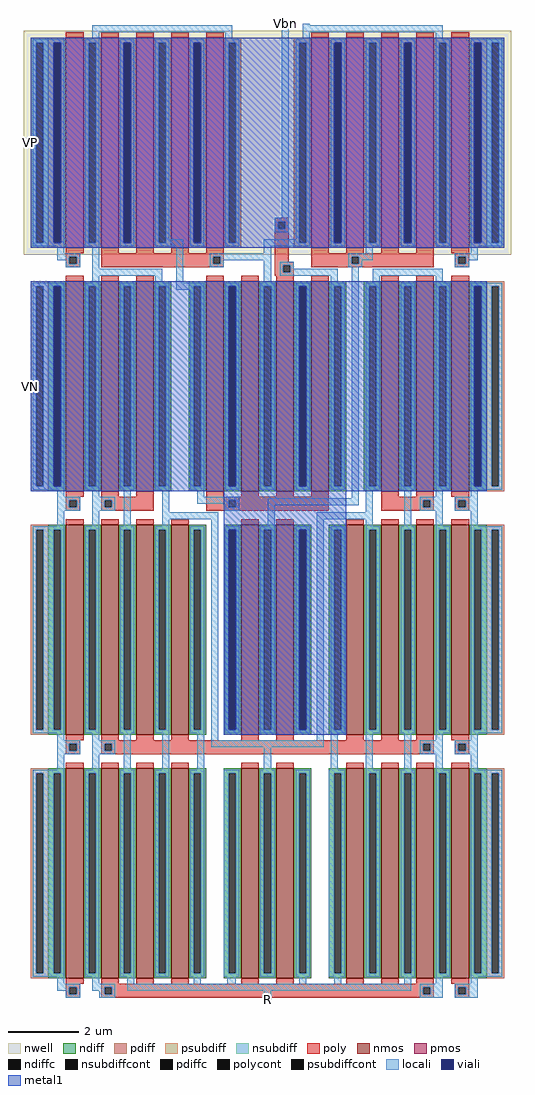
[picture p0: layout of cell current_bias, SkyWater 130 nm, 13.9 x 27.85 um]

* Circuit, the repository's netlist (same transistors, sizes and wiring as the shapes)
* SPICE3 file created from current_bias.ext - technology: sky130A

.subckt current_bias R Vbn Vbp VP VN
X0 VP a_1200_n3000# Vbp VP sky130_fd_pr__pfet_01v8 ad=1.5 pd=6.5 as=3 ps=13 w=6 l=0.5
X1 R a_200_n4390# a_200_n4390# VN sky130_fd_pr__nfet_01v8 ad=1.5 pd=6.5 as=1.5 ps=6.5 w=6 l=0.5
X2 VP a_1200_n3000# a_1200_n3000# VP sky130_fd_pr__pfet_01v8 ad=1.5 pd=6.5 as=1.5 ps=6.5 w=6 l=0.5
X3 Vbn Vbn VN VN sky130_fd_pr__nfet_01v8 ad=3 pd=13 as=1.5 ps=6.5 w=6 l=0.5
X4 R a_200_n4390# a_200_n4390# VN sky130_fd_pr__nfet_01v8 ad=1.5 pd=6.5 as=1.5 ps=6.5 w=6 l=0.5
X5 a_200_n4390# a_200_n4390# R VN sky130_fd_pr__nfet_01v8 ad=3 pd=13 as=1.5 ps=6.5 w=6 l=0.5
X6 a_200_n4390# a_200_n4390# R VN sky130_fd_pr__nfet_01v8 ad=1.5 pd=6.5 as=3 ps=13 w=6 l=0.5
X7 VN Vbn Vbp VN sky130_fd_pr__nfet_01v8 ad=1.5 pd=6.5 as=1.5 ps=6.5 w=6 l=0.5
X8 VN VN a_200_n4390# VN sky130_fd_pr__nfet_01v8 ad=3 pd=13 as=1.5 ps=6.5 w=6 l=0.5
X9 a_200_n4390# a_200_n4390# R VN sky130_fd_pr__nfet_01v8 ad=1.5 pd=6.5 as=3 ps=13 w=6 l=0.5
X10 R a_200_n4390# a_200_n4390# VN sky130_fd_pr__nfet_01v8 ad=3 pd=13 as=1.5 ps=6.5 w=6 l=0.5
X11 R a_200_n4390# a_200_n4390# VN sky130_fd_pr__nfet_01v8 ad=1.5 pd=6.5 as=1.5 ps=6.5 w=6 l=0.5
X12 R a_200_n4390# a_200_n4390# VN sky130_fd_pr__nfet_01v8 ad=3 pd=13 as=1.5 ps=6.5 w=6 l=0.5
X13 VP VP Vbp VP sky130_fd_pr__pfet_01v8 ad=3 pd=13 as=1.5 ps=6.5 w=6 l=0.5
X14 a_200_n4390# VP VP VP sky130_fd_pr__pfet_01v8 ad=1.5 pd=6.5 as=3 ps=13 w=6 l=0.5
X15 Vbp Vbn VN VN sky130_fd_pr__nfet_01v8 ad=1.5 pd=6.5 as=1.5 ps=6.5 w=6 l=0.5
X16 a_200_n4390# a_200_n4390# R VN sky130_fd_pr__nfet_01v8 ad=1.5 pd=6.5 as=1.5 ps=6.5 w=6 l=0.5
X17 Vbn Vbp VP VP sky130_fd_pr__pfet_01v8 ad=1.5 pd=6.5 as=1.5 ps=6.5 w=6 l=0.5
X18 a_200_n4390# a_200_n4390# R VN sky130_fd_pr__nfet_01v8 ad=1.5 pd=6.5 as=1.5 ps=6.5 w=6 l=0.5
X19 a_200_n4390# Vbp VP VP sky130_fd_pr__pfet_01v8 ad=3 pd=13 as=1.5 ps=6.5 w=6 l=0.5
X20 a_1200_n3000# a_1200_n3000# VP VP sky130_fd_pr__pfet_01v8 ad=1.5 pd=6.5 as=1.5 ps=6.5 w=6 l=0.5
X21 a_200_n4390# VN VN VN sky130_fd_pr__nfet_01v8 ad=1.5 pd=6.5 as=3 ps=13 w=6 l=0.5
X22 VN a_200_n4390# a_1200_n3000# VN sky130_fd_pr__nfet_01v8 ad=3 pd=13 as=1.5 ps=6.5 w=6 l=0.5
X23 VN VN a_200_n4390# VN sky130_fd_pr__nfet_01v8 ad=3 pd=13 as=1.5 ps=6.5 w=6 l=0.5
X24 a_200_n4390# a_200_n4390# R VN sky130_fd_pr__nfet_01v8 ad=1.5 pd=6.5 as=1.5 ps=6.5 w=6 l=0.5
X25 VN VN a_200_n4390# VN sky130_fd_pr__nfet_01v8 ad=3 pd=13 as=1.5 ps=6.5 w=6 l=0.5
X26 R a_200_n4390# a_200_n4390# VN sky130_fd_pr__nfet_01v8 ad=1.5 pd=6.5 as=1.5 ps=6.5 w=6 l=0.5
X27 R a_200_n4390# a_200_n4390# VN sky130_fd_pr__nfet_01v8 ad=3 pd=13 as=1.5 ps=6.5 w=6 l=0.5
X28 a_200_n4390# a_200_n4390# R VN sky130_fd_pr__nfet_01v8 ad=1.5 pd=6.5 as=1.5 ps=6.5 w=6 l=0.5
X29 R a_200_n4390# a_200_n4390# VN sky130_fd_pr__nfet_01v8 ad=1.5 pd=6.5 as=3 ps=13 w=6 l=0.5
X30 a_1200_n3000# a_200_n4390# VN VN sky130_fd_pr__nfet_01v8 ad=1.5 pd=6.5 as=3 ps=13 w=6 l=0.5
X31 R a_200_n4390# a_200_n4390# VN sky130_fd_pr__nfet_01v8 ad=1.5 pd=6.5 as=1.5 ps=6.5 w=6 l=0.5
X32 a_200_n4390# a_200_n4390# R VN sky130_fd_pr__nfet_01v8 ad=1.5 pd=6.5 as=1.5 ps=6.5 w=6 l=0.5
X33 VN Vbn Vbn VN sky130_fd_pr__nfet_01v8 ad=1.5 pd=6.5 as=3 ps=13 w=6 l=0.5
X34 a_200_n4390# VN VN VN sky130_fd_pr__nfet_01v8 ad=1.5 pd=6.5 as=3 ps=13 w=6 l=0.5
X35 a_200_n4390# a_200_n4390# R VN sky130_fd_pr__nfet_01v8 ad=1.5 pd=6.5 as=3 ps=13 w=6 l=0.5
X36 Vbp a_1200_n3000# VP VP sky130_fd_pr__pfet_01v8 ad=1.5 pd=6.5 as=1.5 ps=6.5 w=6 l=0.5
X37 a_200_n4390# VN VN VN sky130_fd_pr__nfet_01v8 ad=1.5 pd=6.5 as=3 ps=13 w=6 l=0.5
X38 VP Vbp a_200_n4390# VP sky130_fd_pr__pfet_01v8 ad=1.5 pd=6.5 as=1.5 ps=6.5 w=6 l=0.5
X39 VP Vbp Vbn VP sky130_fd_pr__pfet_01v8 ad=1.5 pd=6.5 as=1.5 ps=6.5 w=6 l=0.5
.ends

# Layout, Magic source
magic
tech sky130A
<< nwell >>
rect -70 -130 1320 510
<< nmos >>
rect 50 -805 100 -205
rect 150 -805 200 -205
rect 250 -805 300 -205
rect 450 -805 500 -205
rect 550 -805 600 -205
rect 650 -805 700 -205
rect 750 -805 800 -205
rect 950 -805 1000 -205
rect 1050 -805 1100 -205
rect 1150 -805 1200 -205
rect 50 -1500 100 -900
rect 150 -1500 200 -900
rect 250 -1500 300 -900
rect 350 -1500 400 -900
rect 550 -1500 600 -900
rect 650 -1500 700 -900
rect 850 -1500 900 -900
rect 950 -1500 1000 -900
rect 1050 -1500 1100 -900
rect 1150 -1500 1200 -900
rect 50 -2195 100 -1595
rect 150 -2195 200 -1595
rect 250 -2195 300 -1595
rect 350 -2195 400 -1595
rect 550 -2195 600 -1595
rect 650 -2195 700 -1595
rect 850 -2195 900 -1595
rect 950 -2195 1000 -1595
rect 1050 -2195 1100 -1595
rect 1150 -2195 1200 -1595
<< pmos >>
rect 50 -110 100 490
rect 150 -110 200 490
rect 250 -110 300 490
rect 350 -110 400 490
rect 450 -110 500 490
rect 750 -110 800 490
rect 850 -110 900 490
rect 950 -110 1000 490
rect 1050 -110 1100 490
rect 1150 -110 1200 490
<< ndiff >>
rect 0 -220 50 -205
rect 0 -790 15 -220
rect 35 -790 50 -220
rect 0 -805 50 -790
rect 100 -220 150 -205
rect 100 -790 115 -220
rect 135 -790 150 -220
rect 100 -805 150 -790
rect 200 -220 250 -205
rect 200 -790 215 -220
rect 235 -790 250 -220
rect 200 -805 250 -790
rect 300 -220 350 -205
rect 300 -790 315 -220
rect 335 -790 350 -220
rect 300 -805 350 -790
rect 400 -220 450 -205
rect 400 -790 415 -220
rect 435 -790 450 -220
rect 400 -805 450 -790
rect 500 -220 550 -205
rect 500 -790 515 -220
rect 535 -790 550 -220
rect 500 -805 550 -790
rect 600 -220 650 -205
rect 600 -790 615 -220
rect 635 -790 650 -220
rect 600 -805 650 -790
rect 700 -220 750 -205
rect 700 -790 715 -220
rect 735 -790 750 -220
rect 700 -805 750 -790
rect 800 -220 850 -205
rect 800 -790 815 -220
rect 835 -790 850 -220
rect 800 -805 850 -790
rect 900 -220 950 -205
rect 900 -790 915 -220
rect 935 -790 950 -220
rect 900 -805 950 -790
rect 1000 -220 1050 -205
rect 1000 -790 1015 -220
rect 1035 -790 1050 -220
rect 1000 -805 1050 -790
rect 1100 -220 1150 -205
rect 1100 -790 1115 -220
rect 1135 -790 1150 -220
rect 1100 -805 1150 -790
rect 1200 -220 1250 -205
rect 1200 -790 1215 -220
rect 1235 -790 1250 -220
rect 1200 -805 1250 -790
rect 0 -915 50 -900
rect 0 -1485 15 -915
rect 35 -1485 50 -915
rect 0 -1500 50 -1485
rect 100 -915 150 -900
rect 100 -1485 115 -915
rect 135 -1485 150 -915
rect 100 -1500 150 -1485
rect 200 -915 250 -900
rect 200 -1485 215 -915
rect 235 -1485 250 -915
rect 200 -1500 250 -1485
rect 300 -915 350 -900
rect 300 -1485 315 -915
rect 335 -1485 350 -915
rect 300 -1500 350 -1485
rect 400 -915 450 -900
rect 400 -1485 415 -915
rect 435 -1485 450 -915
rect 400 -1500 450 -1485
rect 500 -915 550 -900
rect 500 -1485 515 -915
rect 535 -1485 550 -915
rect 500 -1500 550 -1485
rect 600 -915 650 -900
rect 600 -1485 615 -915
rect 635 -1485 650 -915
rect 600 -1500 650 -1485
rect 700 -915 750 -900
rect 700 -1485 715 -915
rect 735 -1485 750 -915
rect 700 -1500 750 -1485
rect 800 -915 850 -900
rect 800 -1485 815 -915
rect 835 -1485 850 -915
rect 800 -1500 850 -1485
rect 900 -915 950 -900
rect 900 -1485 915 -915
rect 935 -1485 950 -915
rect 900 -1500 950 -1485
rect 1000 -915 1050 -900
rect 1000 -1485 1015 -915
rect 1035 -1485 1050 -915
rect 1000 -1500 1050 -1485
rect 1100 -915 1150 -900
rect 1100 -1485 1115 -915
rect 1135 -1485 1150 -915
rect 1100 -1500 1150 -1485
rect 1200 -915 1250 -900
rect 1200 -1485 1215 -915
rect 1235 -1485 1250 -915
rect 1200 -1500 1250 -1485
rect 0 -1610 50 -1595
rect 0 -2180 15 -1610
rect 35 -2180 50 -1610
rect 0 -2195 50 -2180
rect 100 -1610 150 -1595
rect 100 -2180 115 -1610
rect 135 -2180 150 -1610
rect 100 -2195 150 -2180
rect 200 -1610 250 -1595
rect 200 -2180 215 -1610
rect 235 -2180 250 -1610
rect 200 -2195 250 -2180
rect 300 -1610 350 -1595
rect 300 -2180 315 -1610
rect 335 -2180 350 -1610
rect 300 -2195 350 -2180
rect 400 -1610 450 -1595
rect 400 -2180 415 -1610
rect 435 -2180 450 -1610
rect 400 -2195 450 -2180
rect 500 -1610 550 -1595
rect 500 -2180 515 -1610
rect 535 -2180 550 -1610
rect 500 -2195 550 -2180
rect 600 -1610 650 -1595
rect 600 -2180 615 -1610
rect 635 -2180 650 -1610
rect 600 -2195 650 -2180
rect 700 -1610 750 -1595
rect 700 -2180 715 -1610
rect 735 -2180 750 -1610
rect 700 -2195 750 -2180
rect 800 -1610 850 -1595
rect 800 -2180 815 -1610
rect 835 -2180 850 -1610
rect 800 -2195 850 -2180
rect 900 -1610 950 -1595
rect 900 -2180 915 -1610
rect 935 -2180 950 -1610
rect 900 -2195 950 -2180
rect 1000 -1610 1050 -1595
rect 1000 -2180 1015 -1610
rect 1035 -2180 1050 -1610
rect 1000 -2195 1050 -2180
rect 1100 -1610 1150 -1595
rect 1100 -2180 1115 -1610
rect 1135 -2180 1150 -1610
rect 1100 -2195 1150 -2180
rect 1200 -1610 1250 -1595
rect 1200 -2180 1215 -1610
rect 1235 -2180 1250 -1610
rect 1200 -2195 1250 -2180
<< pdiff >>
rect 0 475 50 490
rect 0 -95 15 475
rect 35 -95 50 475
rect 0 -110 50 -95
rect 100 475 150 490
rect 100 -95 115 475
rect 135 -95 150 475
rect 100 -110 150 -95
rect 200 475 250 490
rect 200 -95 215 475
rect 235 -95 250 475
rect 200 -110 250 -95
rect 300 475 350 490
rect 300 -95 315 475
rect 335 -95 350 475
rect 300 -110 350 -95
rect 400 475 450 490
rect 400 -95 415 475
rect 435 -95 450 475
rect 400 -110 450 -95
rect 500 475 550 490
rect 500 -95 515 475
rect 535 -95 550 475
rect 700 475 750 490
rect 500 -110 550 -95
rect 700 -95 715 475
rect 735 -95 750 475
rect 700 -110 750 -95
rect 800 475 850 490
rect 800 -95 815 475
rect 835 -95 850 475
rect 800 -110 850 -95
rect 900 475 950 490
rect 900 -95 915 475
rect 935 -95 950 475
rect 900 -110 950 -95
rect 1000 475 1050 490
rect 1000 -95 1015 475
rect 1035 -95 1050 475
rect 1000 -110 1050 -95
rect 1100 475 1150 490
rect 1100 -95 1115 475
rect 1135 -95 1150 475
rect 1100 -110 1150 -95
rect 1200 475 1250 490
rect 1200 -95 1215 475
rect 1235 -95 1250 475
rect 1200 -110 1250 -95
<< ndiffc >>
rect 15 -790 35 -220
rect 115 -790 135 -220
rect 215 -790 235 -220
rect 315 -790 335 -220
rect 415 -790 435 -220
rect 515 -790 535 -220
rect 615 -790 635 -220
rect 715 -790 735 -220
rect 815 -790 835 -220
rect 915 -790 935 -220
rect 1015 -790 1035 -220
rect 1115 -790 1135 -220
rect 1215 -790 1235 -220
rect 15 -1485 35 -915
rect 115 -1485 135 -915
rect 215 -1485 235 -915
rect 315 -1485 335 -915
rect 415 -1485 435 -915
rect 515 -1485 535 -915
rect 615 -1485 635 -915
rect 715 -1485 735 -915
rect 815 -1485 835 -915
rect 915 -1485 935 -915
rect 1015 -1485 1035 -915
rect 1115 -1485 1135 -915
rect 1215 -1485 1235 -915
rect 15 -2180 35 -1610
rect 115 -2180 135 -1610
rect 215 -2180 235 -1610
rect 315 -2180 335 -1610
rect 415 -2180 435 -1610
rect 515 -2180 535 -1610
rect 615 -2180 635 -1610
rect 715 -2180 735 -1610
rect 815 -2180 835 -1610
rect 915 -2180 935 -1610
rect 1015 -2180 1035 -1610
rect 1115 -2180 1135 -1610
rect 1215 -2180 1235 -1610
<< pdiffc >>
rect 15 -95 35 475
rect 115 -95 135 475
rect 215 -95 235 475
rect 315 -95 335 475
rect 415 -95 435 475
rect 515 -95 535 475
rect 715 -95 735 475
rect 815 -95 835 475
rect 915 -95 935 475
rect 1015 -95 1035 475
rect 1115 -95 1135 475
rect 1215 -95 1235 475
<< psubdiff >>
rect -50 -220 0 -205
rect -50 -790 -35 -220
rect -15 -790 0 -220
rect -50 -805 0 -790
rect 1250 -220 1300 -205
rect 1250 -790 1265 -220
rect 1285 -790 1300 -220
rect 1250 -805 1300 -790
rect -50 -915 0 -900
rect -50 -1485 -35 -915
rect -15 -1485 0 -915
rect -50 -1500 0 -1485
rect 1250 -915 1300 -900
rect 1250 -1485 1265 -915
rect 1285 -1485 1300 -915
rect 1250 -1500 1300 -1485
rect -50 -1610 0 -1595
rect -50 -2180 -35 -1610
rect -15 -2180 0 -1610
rect -50 -2195 0 -2180
rect 1250 -1610 1300 -1595
rect 1250 -2180 1265 -1610
rect 1285 -2180 1300 -1610
rect 1250 -2195 1300 -2180
<< nsubdiff >>
rect -50 475 0 490
rect -50 -95 -35 475
rect -15 -95 0 475
rect -50 -110 0 -95
rect 1250 475 1300 490
rect 1250 -95 1265 475
rect 1285 -95 1300 475
rect 1250 -110 1300 -95
<< psubdiffcont >>
rect -35 -790 -15 -220
rect 1265 -790 1285 -220
rect -35 -1485 -15 -915
rect 1265 -1485 1285 -915
rect -35 -2180 -15 -1610
rect 1265 -2180 1285 -1610
<< nsubdiffcont >>
rect -35 -95 -15 475
rect 1265 -95 1285 475
<< poly >>
rect 50 490 100 505
rect 150 490 200 505
rect 250 490 300 505
rect 350 490 400 505
rect 450 490 500 505
rect 750 490 800 505
rect 850 490 900 505
rect 950 490 1000 505
rect 1050 490 1100 505
rect 1150 490 1200 505
rect 645 -35 685 -25
rect 645 -55 655 -35
rect 675 -55 685 -35
rect 50 -125 100 -110
rect 150 -125 200 -110
rect 250 -125 300 -110
rect 350 -125 400 -110
rect 450 -125 500 -110
rect 50 -135 90 -125
rect 50 -155 60 -135
rect 80 -155 90 -135
rect 50 -165 90 -155
rect 150 -135 500 -125
rect 150 -155 470 -135
rect 490 -155 500 -135
rect 150 -165 500 -155
rect 645 -150 685 -55
rect 750 -125 800 -110
rect 850 -125 900 -110
rect 950 -125 1000 -110
rect 1050 -125 1100 -110
rect 1150 -125 1200 -110
rect 750 -135 1100 -125
rect 645 -160 700 -150
rect 645 -180 670 -160
rect 690 -180 700 -160
rect 750 -155 865 -135
rect 885 -155 1100 -135
rect 750 -165 1100 -155
rect 1160 -135 1200 -125
rect 1160 -155 1170 -135
rect 1190 -155 1200 -135
rect 1160 -165 1200 -155
rect 645 -190 700 -180
rect 50 -205 100 -190
rect 150 -205 200 -190
rect 250 -205 300 -190
rect 450 -205 500 -190
rect 550 -205 600 -190
rect 650 -205 700 -190
rect 750 -205 800 -190
rect 950 -205 1000 -190
rect 1050 -205 1100 -190
rect 1150 -205 1200 -190
rect 50 -820 100 -805
rect 150 -820 200 -805
rect 250 -820 300 -805
rect 50 -830 90 -820
rect 50 -850 60 -830
rect 80 -850 90 -830
rect 50 -860 90 -850
rect 150 -830 300 -820
rect 150 -850 160 -830
rect 180 -850 300 -830
rect 150 -860 300 -850
rect 450 -820 500 -805
rect 550 -820 600 -805
rect 650 -820 700 -805
rect 750 -820 800 -805
rect 450 -830 800 -820
rect 450 -850 515 -830
rect 535 -850 800 -830
rect 450 -860 800 -850
rect 950 -820 1000 -805
rect 1050 -820 1100 -805
rect 1150 -820 1200 -805
rect 950 -830 1100 -820
rect 950 -850 1070 -830
rect 1090 -850 1100 -830
rect 950 -860 1100 -850
rect 1160 -830 1200 -820
rect 1160 -850 1170 -830
rect 1190 -850 1200 -830
rect 1160 -860 1200 -850
rect 50 -900 100 -885
rect 150 -900 200 -885
rect 250 -900 300 -885
rect 350 -900 400 -885
rect 550 -900 600 -885
rect 650 -900 700 -885
rect 850 -900 900 -885
rect 950 -900 1000 -885
rect 1050 -900 1100 -885
rect 1150 -900 1200 -885
rect 50 -1515 100 -1500
rect 150 -1515 200 -1500
rect 250 -1515 300 -1500
rect 350 -1515 400 -1500
rect 550 -1515 600 -1500
rect 650 -1515 700 -1500
rect 850 -1515 900 -1500
rect 950 -1515 1000 -1500
rect 1050 -1515 1100 -1500
rect 1150 -1515 1200 -1500
rect 50 -1525 90 -1515
rect 50 -1545 60 -1525
rect 80 -1545 90 -1525
rect 50 -1555 90 -1545
rect 150 -1525 1100 -1515
rect 150 -1545 160 -1525
rect 180 -1545 1070 -1525
rect 1090 -1545 1100 -1525
rect 150 -1555 1100 -1545
rect 1160 -1525 1200 -1515
rect 1160 -1545 1170 -1525
rect 1190 -1545 1200 -1525
rect 1160 -1555 1200 -1545
rect 50 -1595 100 -1580
rect 150 -1595 200 -1580
rect 250 -1595 300 -1580
rect 350 -1595 400 -1580
rect 550 -1595 600 -1580
rect 650 -1595 700 -1580
rect 850 -1595 900 -1580
rect 950 -1595 1000 -1580
rect 1050 -1595 1100 -1580
rect 1150 -1595 1200 -1580
rect 50 -2210 100 -2195
rect 150 -2210 200 -2195
rect 250 -2210 300 -2195
rect 350 -2210 400 -2195
rect 550 -2210 600 -2195
rect 650 -2210 700 -2195
rect 850 -2210 900 -2195
rect 950 -2210 1000 -2195
rect 1050 -2210 1100 -2195
rect 1150 -2210 1200 -2195
rect 50 -2220 90 -2210
rect 50 -2240 60 -2220
rect 80 -2240 90 -2220
rect 50 -2250 90 -2240
rect 150 -2220 1100 -2210
rect 150 -2240 160 -2220
rect 180 -2240 1070 -2220
rect 1090 -2240 1100 -2220
rect 150 -2250 1100 -2240
rect 1160 -2220 1200 -2210
rect 1160 -2240 1170 -2220
rect 1190 -2240 1200 -2220
rect 1160 -2250 1200 -2240
<< polycont >>
rect 655 -55 675 -35
rect 60 -155 80 -135
rect 470 -155 490 -135
rect 670 -180 690 -160
rect 865 -155 885 -135
rect 1170 -155 1190 -135
rect 60 -850 80 -830
rect 160 -850 180 -830
rect 515 -850 535 -830
rect 1070 -850 1090 -830
rect 1170 -850 1190 -830
rect 60 -1545 80 -1525
rect 160 -1545 180 -1525
rect 1070 -1545 1090 -1525
rect 1170 -1545 1190 -1525
rect 60 -2240 80 -2220
rect 160 -2240 180 -2220
rect 1070 -2240 1090 -2220
rect 1170 -2240 1190 -2220
<< locali >>
rect 125 505 525 525
rect 125 485 145 505
rect 505 485 525 505
rect -45 475 45 485
rect -45 -95 -35 475
rect -15 -95 15 475
rect 35 -95 45 475
rect -45 -105 45 -95
rect 105 475 145 485
rect 105 -95 115 475
rect 135 -95 145 475
rect 105 -105 145 -95
rect 205 475 245 485
rect 205 -95 215 475
rect 235 -95 245 475
rect 205 -105 245 -95
rect 305 475 345 485
rect 305 -95 315 475
rect 335 -85 345 475
rect 405 475 445 485
rect 335 -95 385 -85
rect 305 -105 385 -95
rect 405 -95 415 475
rect 435 -95 445 475
rect 405 -105 445 -95
rect 505 475 545 485
rect 505 -95 515 475
rect 535 -95 545 475
rect 665 -25 685 530
rect 725 525 745 530
rect 725 505 1125 525
rect 725 485 745 505
rect 1105 485 1125 505
rect 645 -35 685 -25
rect 645 -55 655 -35
rect 675 -55 685 -35
rect 645 -65 685 -55
rect 705 475 745 485
rect 705 -85 715 475
rect 505 -105 545 -95
rect 615 -95 715 -85
rect 735 -95 745 475
rect 615 -105 745 -95
rect 805 475 845 485
rect 805 -95 815 475
rect 835 -95 845 475
rect 805 -105 845 -95
rect 905 475 945 485
rect 905 -95 915 475
rect 935 -95 945 475
rect 905 -105 945 -95
rect 1005 475 1045 485
rect 1005 -95 1015 475
rect 1035 -95 1045 475
rect 1005 -105 1045 -95
rect 1105 475 1145 485
rect 1105 -95 1115 475
rect 1135 -95 1145 475
rect 1105 -105 1145 -95
rect 1205 475 1295 485
rect 1205 -95 1215 475
rect 1235 -95 1265 475
rect 1285 -95 1295 475
rect 1205 -105 1295 -95
rect 25 -125 45 -105
rect 25 -135 90 -125
rect 25 -145 60 -135
rect 50 -155 60 -145
rect 80 -155 90 -135
rect 50 -165 90 -155
rect 125 -170 145 -105
rect 125 -190 325 -170
rect 125 -210 145 -190
rect 305 -210 325 -190
rect 365 -210 385 -105
rect 615 -125 635 -105
rect 905 -125 925 -105
rect 1205 -125 1225 -105
rect 460 -135 635 -125
rect 460 -155 470 -135
rect 490 -145 635 -135
rect 490 -155 500 -145
rect 460 -165 500 -155
rect 615 -210 635 -145
rect 855 -135 925 -125
rect 660 -160 700 -150
rect 660 -180 670 -160
rect 690 -170 700 -160
rect 855 -155 865 -135
rect 885 -145 925 -135
rect 1160 -135 1225 -125
rect 885 -155 895 -145
rect 855 -165 895 -155
rect 1160 -155 1170 -135
rect 1190 -145 1225 -135
rect 1190 -155 1200 -145
rect 1160 -165 1200 -155
rect 690 -180 825 -170
rect 660 -190 825 -180
rect 805 -210 825 -190
rect -45 -220 45 -210
rect -45 -790 -35 -220
rect -15 -790 15 -220
rect 35 -790 45 -220
rect -45 -800 45 -790
rect 105 -220 145 -210
rect 105 -790 115 -220
rect 135 -790 145 -220
rect 105 -800 145 -790
rect 205 -220 245 -210
rect 205 -790 215 -220
rect 235 -790 245 -220
rect 205 -800 245 -790
rect 305 -220 345 -210
rect 305 -790 315 -220
rect 335 -790 345 -220
rect 365 -220 445 -210
rect 365 -230 415 -220
rect 305 -800 345 -790
rect 405 -790 415 -230
rect 435 -790 445 -220
rect 405 -800 445 -790
rect 505 -220 545 -210
rect 505 -790 515 -220
rect 535 -790 545 -220
rect 505 -800 545 -790
rect 605 -220 645 -210
rect 605 -790 615 -220
rect 635 -790 645 -220
rect 605 -800 645 -790
rect 705 -220 745 -210
rect 705 -790 715 -220
rect 735 -790 745 -220
rect 705 -800 745 -790
rect 805 -220 845 -210
rect 805 -790 815 -220
rect 835 -790 845 -220
rect 805 -800 845 -790
rect 25 -820 45 -800
rect 125 -820 145 -800
rect 25 -830 90 -820
rect 25 -850 60 -830
rect 80 -850 90 -830
rect 25 -860 90 -850
rect 125 -830 190 -820
rect 125 -850 160 -830
rect 180 -850 190 -830
rect 125 -860 190 -850
rect 25 -905 45 -860
rect 125 -905 145 -860
rect 215 -905 235 -800
rect 325 -865 345 -800
rect 425 -820 445 -800
rect 425 -830 545 -820
rect 865 -825 885 -165
rect 925 -190 1125 -170
rect 925 -210 945 -190
rect 1105 -210 1125 -190
rect 425 -840 515 -830
rect 505 -850 515 -840
rect 535 -850 545 -830
rect 505 -860 545 -850
rect 625 -845 885 -825
rect 905 -220 945 -210
rect 905 -790 915 -220
rect 935 -790 945 -220
rect 905 -800 945 -790
rect 1005 -220 1045 -210
rect 1005 -790 1015 -220
rect 1035 -790 1045 -220
rect 1005 -800 1045 -790
rect 1105 -220 1145 -210
rect 1105 -790 1115 -220
rect 1135 -790 1145 -220
rect 1105 -800 1145 -790
rect 1205 -220 1295 -210
rect 1205 -790 1215 -220
rect 1235 -790 1265 -220
rect 1285 -790 1295 -220
rect 1205 -800 1295 -790
rect 325 -885 485 -865
rect 325 -905 345 -885
rect -45 -915 45 -905
rect -45 -1485 -35 -915
rect -15 -1485 15 -915
rect 35 -1485 45 -915
rect -45 -1495 45 -1485
rect 105 -915 145 -905
rect 105 -1485 115 -915
rect 135 -1485 145 -915
rect 105 -1495 145 -1485
rect 205 -915 245 -905
rect 205 -1485 215 -915
rect 235 -1485 245 -915
rect 205 -1495 245 -1485
rect 305 -915 345 -905
rect 305 -1485 315 -915
rect 335 -1485 345 -915
rect 305 -1495 345 -1485
rect 405 -915 445 -905
rect 405 -1485 415 -915
rect 435 -1485 445 -915
rect 405 -1495 445 -1485
rect 25 -1515 45 -1495
rect 125 -1515 145 -1495
rect 25 -1525 90 -1515
rect 25 -1545 60 -1525
rect 80 -1545 90 -1525
rect 25 -1555 90 -1545
rect 125 -1525 190 -1515
rect 125 -1545 160 -1525
rect 180 -1545 190 -1525
rect 125 -1555 190 -1545
rect 25 -1600 45 -1555
rect 125 -1600 145 -1555
rect 215 -1600 235 -1495
rect 325 -1600 345 -1495
rect 425 -1600 445 -1495
rect 465 -1515 485 -885
rect 625 -905 645 -845
rect 905 -865 925 -800
rect 765 -885 925 -865
rect 505 -915 545 -905
rect 505 -1485 515 -915
rect 535 -1485 545 -915
rect 505 -1495 545 -1485
rect 605 -915 645 -905
rect 605 -1485 615 -915
rect 635 -1485 645 -915
rect 605 -1495 645 -1485
rect 705 -915 745 -905
rect 705 -1485 715 -915
rect 735 -1485 745 -915
rect 705 -1495 745 -1485
rect 765 -1515 785 -885
rect 905 -905 925 -885
rect 1015 -905 1035 -800
rect 1105 -820 1125 -800
rect 1205 -820 1225 -800
rect 1060 -830 1125 -820
rect 1060 -850 1070 -830
rect 1090 -850 1125 -830
rect 1060 -860 1125 -850
rect 1160 -830 1225 -820
rect 1160 -850 1170 -830
rect 1190 -850 1225 -830
rect 1160 -860 1225 -850
rect 1105 -905 1125 -860
rect 1205 -905 1225 -860
rect 465 -1535 785 -1515
rect 805 -915 845 -905
rect 805 -1485 815 -915
rect 835 -1485 845 -915
rect 805 -1495 845 -1485
rect 905 -915 945 -905
rect 905 -1485 915 -915
rect 935 -1485 945 -915
rect 905 -1495 945 -1485
rect 1005 -915 1045 -905
rect 1005 -1485 1015 -915
rect 1035 -1485 1045 -915
rect 1005 -1495 1045 -1485
rect 1105 -915 1145 -905
rect 1105 -1485 1115 -915
rect 1135 -1485 1145 -915
rect 1105 -1495 1145 -1485
rect 1205 -915 1295 -905
rect 1205 -1485 1215 -915
rect 1235 -1485 1265 -915
rect 1285 -1485 1295 -915
rect 1205 -1495 1295 -1485
rect 615 -1600 635 -1535
rect 805 -1600 825 -1495
rect 905 -1600 925 -1495
rect 1015 -1600 1035 -1495
rect 1105 -1515 1125 -1495
rect 1205 -1515 1225 -1495
rect 1060 -1525 1125 -1515
rect 1060 -1545 1070 -1525
rect 1090 -1545 1125 -1525
rect 1060 -1555 1125 -1545
rect 1160 -1525 1225 -1515
rect 1160 -1545 1170 -1525
rect 1190 -1545 1225 -1525
rect 1160 -1555 1225 -1545
rect 1105 -1600 1125 -1555
rect 1205 -1600 1225 -1555
rect -45 -1610 45 -1600
rect -45 -2180 -35 -1610
rect -15 -2180 15 -1610
rect 35 -2180 45 -1610
rect -45 -2190 45 -2180
rect 105 -1610 145 -1600
rect 105 -2180 115 -1610
rect 135 -2180 145 -1610
rect 105 -2190 145 -2180
rect 205 -1610 245 -1600
rect 205 -2180 215 -1610
rect 235 -2180 245 -1610
rect 205 -2190 245 -2180
rect 305 -1610 345 -1600
rect 305 -2180 315 -1610
rect 335 -2180 345 -1610
rect 305 -2190 345 -2180
rect 405 -1610 445 -1600
rect 405 -2180 415 -1610
rect 435 -2180 445 -1610
rect 405 -2190 445 -2180
rect 500 -1610 545 -1600
rect 500 -2180 515 -1610
rect 535 -2180 545 -1610
rect 500 -2190 545 -2180
rect 605 -1610 645 -1600
rect 605 -2180 615 -1610
rect 635 -2180 645 -1610
rect 605 -2190 645 -2180
rect 705 -1610 745 -1600
rect 705 -2180 715 -1610
rect 735 -2180 745 -1610
rect 705 -2190 745 -2180
rect 800 -1610 845 -1600
rect 800 -2180 815 -1610
rect 835 -2180 845 -1610
rect 800 -2190 845 -2180
rect 905 -1610 945 -1600
rect 905 -2180 915 -1610
rect 935 -2180 945 -1610
rect 905 -2190 945 -2180
rect 1005 -1610 1045 -1600
rect 1005 -2180 1015 -1610
rect 1035 -2180 1045 -1610
rect 1005 -2190 1045 -2180
rect 1105 -1610 1145 -1600
rect 1105 -2180 1115 -1610
rect 1135 -2180 1145 -1610
rect 1105 -2190 1145 -2180
rect 1205 -1610 1295 -1600
rect 1205 -2180 1215 -1610
rect 1235 -2180 1265 -1610
rect 1285 -2180 1295 -1610
rect 1205 -2190 1295 -2180
rect 25 -2210 45 -2190
rect 125 -2210 145 -2190
rect 225 -2210 245 -2190
rect 415 -2210 435 -2190
rect 510 -2210 535 -2190
rect 715 -2210 735 -2190
rect 815 -2210 835 -2190
rect 1015 -2210 1035 -2190
rect 1105 -2210 1125 -2190
rect 1205 -2210 1225 -2190
rect 25 -2220 90 -2210
rect 25 -2230 60 -2220
rect 50 -2240 60 -2230
rect 80 -2240 90 -2220
rect 125 -2220 190 -2210
rect 125 -2230 160 -2220
rect 50 -2250 90 -2240
rect 145 -2240 160 -2230
rect 180 -2240 190 -2220
rect 225 -2230 1035 -2210
rect 1060 -2220 1125 -2210
rect 145 -2250 190 -2240
rect 615 -2255 635 -2230
rect 1060 -2240 1070 -2220
rect 1090 -2240 1125 -2220
rect 1060 -2250 1125 -2240
rect 1160 -2220 1225 -2210
rect 1160 -2240 1170 -2220
rect 1190 -2240 1225 -2220
rect 1160 -2250 1225 -2240
<< viali >>
rect 15 -95 35 475
rect 215 -95 235 475
rect 415 -95 435 475
rect 815 -95 835 475
rect 1015 -95 1035 475
rect 1215 -95 1235 475
rect 15 -790 35 -220
rect 515 -790 535 -220
rect 715 -790 735 -220
rect 1215 -790 1235 -220
rect 515 -1485 535 -915
rect 715 -1485 735 -915
<< metal1 >>
rect -50 475 1300 490
rect -50 -95 15 475
rect 35 -95 215 475
rect 235 -95 415 475
rect 435 -95 815 475
rect 835 -95 1015 475
rect 1035 -95 1215 475
rect 1235 -95 1300 475
rect -50 -110 1300 -95
rect -50 -220 1250 -205
rect -50 -790 15 -220
rect 35 -790 515 -220
rect 535 -790 715 -220
rect 735 -790 1215 -220
rect 1235 -790 1250 -220
rect -50 -805 1250 -790
rect 500 -915 850 -805
rect 500 -1485 515 -915
rect 535 -1485 715 -915
rect 735 -1485 850 -915
rect 500 -1500 850 -1485
<< labels >>
flabel locali 625 -2255 625 -2255 5 FreeSans 160 0 0 0 R
port 1 s
flabel locali 675 530 675 530 1 FreeSans 160 0 0 0 Vbn
port 2 n
flabel locali 735 530 735 530 1 FreeSans 160 0 0 0 Vbp
port 3 n
flabel metal1 -50 -505 -50 -505 7 FreeSans 160 0 0 0 VN
port 5 w
flabel metal1 -50 190 -50 190 7 FreeSans 160 0 0 0 VP
port 4 w
<< end >>
